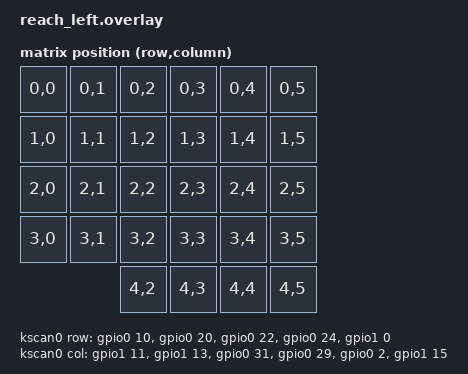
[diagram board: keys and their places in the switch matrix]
#include <dt-bindings/zmk/matrix_transform.h>
#include <zephyr/dt-bindings/gpio/gpio.h>

/ {
    chosen {
        zmk,physical-layout = &reach_layout;
    };

    kscan0: kscan_0 {
        compatible = "zmk,kscan-gpio-matrix";
        diode-direction = "col2row";
        wakeup-source;
        row-gpios = <&gpio0 10 (GPIO_ACTIVE_HIGH | GPIO_PULL_DOWN)>,
                    <&gpio0 20 (GPIO_ACTIVE_HIGH | GPIO_PULL_DOWN)>,
                    <&gpio0 22 (GPIO_ACTIVE_HIGH | GPIO_PULL_DOWN)>,
                    <&gpio0 24 (GPIO_ACTIVE_HIGH | GPIO_PULL_DOWN)>,
                    <&gpio1 0 (GPIO_ACTIVE_HIGH | GPIO_PULL_DOWN)>;
        col-gpios = <&gpio1 11 GPIO_ACTIVE_HIGH>,
                    <&gpio1 13 GPIO_ACTIVE_HIGH>,
                    <&gpio0 31 GPIO_ACTIVE_HIGH>,
                    <&gpio0 29 GPIO_ACTIVE_HIGH>,
                    <&gpio0 2 GPIO_ACTIVE_HIGH>,
                    <&gpio1 15 GPIO_ACTIVE_HIGH>;
    };

    reach_transform: matrix_transform {
        compatible = "zmk,matrix-transform";
        rows = <5>;
        columns = <6>;
        map = <
            RC(0,0) RC(0,1) RC(0,2) RC(0,3) RC(0,4) RC(0,5)
            RC(1,0) RC(1,1) RC(1,2) RC(1,3) RC(1,4) RC(1,5)
            RC(2,0) RC(2,1) RC(2,2) RC(2,3) RC(2,4) RC(2,5)
            RC(3,0) RC(3,1) RC(3,2) RC(3,3) RC(3,4) RC(3,5)
                            RC(4,2) RC(4,3) RC(4,4) RC(4,5)
        >;
    };

    reach_layout: physical_layout {
        compatible = "zmk,physical-layout";
        display-name = "Reach Left (28 keys)";
        kscan = <&kscan0>;
        transform = <&reach_transform>;
    };
};
